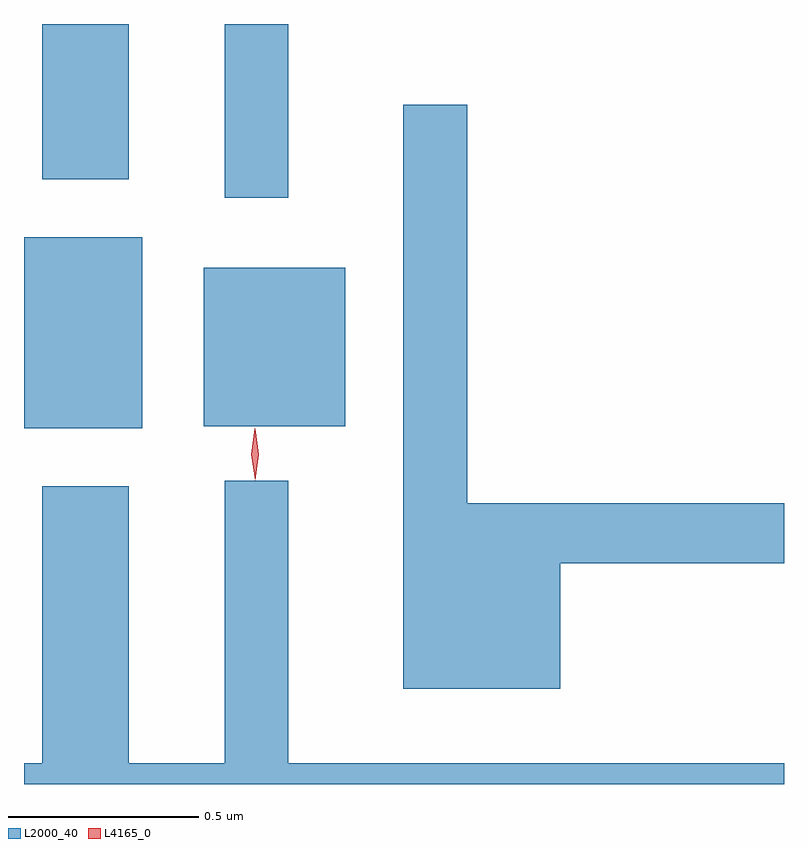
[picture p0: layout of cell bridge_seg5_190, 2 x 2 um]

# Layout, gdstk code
import gdstk
lib = gdstk.Library(unit=1e-6, precision=1e-09)
def R(c, l, rs):  # rectangles x0, y0, x1, y1
    for r in rs: c.add(gdstk.rectangle(r[:2], r[2:], *l))
def P(c, l, *ps):  # polygons
    for p in ps: c.add(gdstk.Polygon(p, *l))
L2000_40 = (2000, 40)
L4165_0 = (4165, 0)

bridge_seg5_190 = lib.new_cell('bridge_seg5_190')
R(bridge_seg5_190, L2000_40, [(1249.713,1400.226,1250.024,1400.729), (1250.186,1400.231,1250.559,1400.649), (1250.241,1400.833,1250.409,1401.29), (1249.761,1400.881,1249.989,1401.29)])
P(bridge_seg5_190, L2000_40, [(1251.124,1399.871),(1251.713,1399.871),(1251.713,1400.029),(1250.879,1400.029),(1250.879,1401.078),(1250.711,1401.078),(1250.711,1399.541),(1251.124,1399.541)],
  [(1251.713,1399.344),(1250.409,1399.344),(1250.409,1400.088),(1250.241,1400.088),(1250.241,1399.344),(1249.989,1399.344),(1249.989,1400.074),(1249.761,1400.074),(1249.761,1399.344),(1249.713,1399.344),(1249.713,1399.29),(1251.713,1399.29)])
P(bridge_seg5_190, L4165_0, [(1250.321,1400.093),(1250.321,1400.093),(1250.311,1400.157),(1250.32,1400.221),(1250.321,1400.222),(1250.321,1400.221),(1250.331,1400.157),(1250.322,1400.093)],
  [(1250.321,1400.09),(1250.321,1400.09),(1250.311,1400.158),(1250.32,1400.225),(1250.32,1400.226),(1250.321,1400.225),(1250.331,1400.158),(1250.322,1400.09)])

lib.write_gds('bridge_seg5_190.gds')
